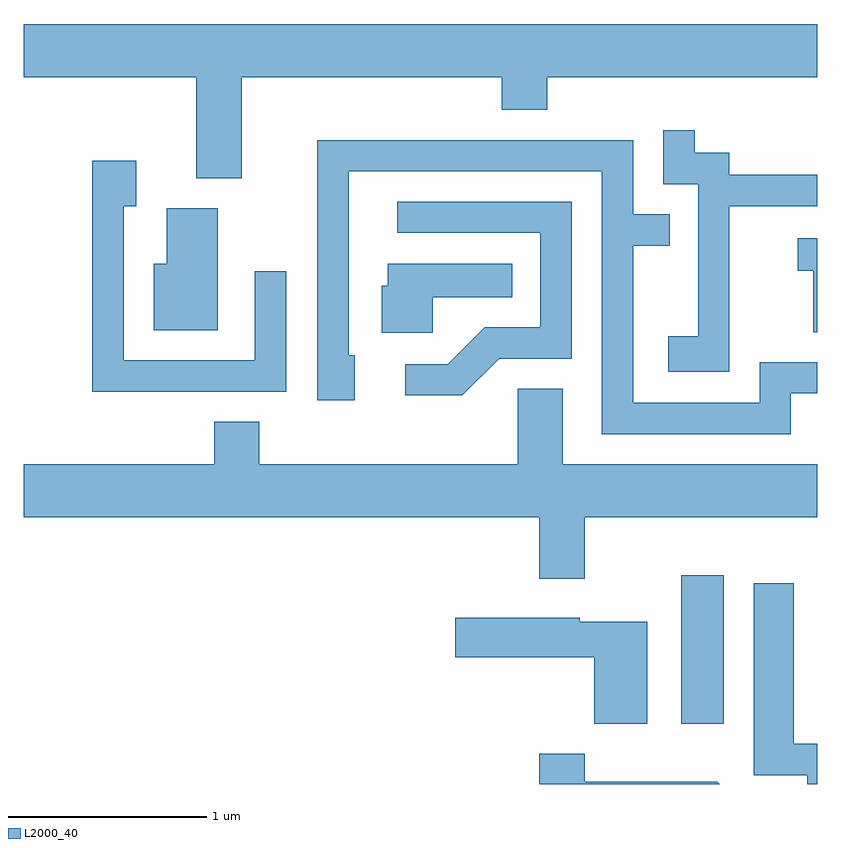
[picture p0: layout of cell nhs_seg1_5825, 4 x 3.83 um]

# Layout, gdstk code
import gdstk
lib = gdstk.Library(unit=1e-6, precision=1e-09)
def R(c, l, rs):  # rectangles x0, y0, x1, y1
    for r in rs: c.add(gdstk.rectangle(r[:2], r[2:], *l))
def P(c, l, *ps):  # polygons
    for p in ps: c.add(gdstk.Polygon(p, *l))
L2000_40 = (2000, 40)

nhs_seg1_5825 = lib.new_cell('nhs_seg1_5825')
R(nhs_seg1_5825, L2000_40, [(362.926,974.016,363.139,974.764)])
P(nhs_seg1_5825, L2000_40, [(360.709,977.276),(362.021,977.276),(362.021,977.111),(362.249,977.111),(362.249,977.276),(363.611,977.276),(363.611,977.544),(359.611,977.544),(359.611,977.276),(360.481,977.276),(360.481,976.766),(360.709,976.766)],
  [(363.169,976.626),(363.611,976.626),(363.611,976.784),(363.169,976.784),(363.169,976.894),(362.994,976.894),(362.994,977.008),(362.836,977.008),(362.836,976.736),(363.011,976.736),(363.011,975.969),(362.861,975.969),(362.861,975.791),(363.169,975.791)],
  [(363.479,975.681),(363.611,975.681),(363.611,975.839),(363.321,975.839),(363.321,975.634),(362.684,975.634),(362.684,976.426),(362.868,976.426),(362.868,976.584),(362.684,976.584),(362.684,976.959),(361.091,976.959),(361.091,975.646),(361.279,975.646),(361.279,975.874),(361.249,975.874),(361.249,976.801),(362.526,976.801),(362.526,975.476),(363.479,975.476)],
  [(360.934,976.298),(360.776,976.298),(360.776,975.849),(360.114,975.849),(360.114,976.626),(360.179,976.626),(360.179,976.854),(359.956,976.854),(359.956,975.691),(360.934,975.691)],
  [(362.007,975.856),(362.374,975.856),(362.374,976.649),(361.493,976.649),(361.493,976.491),(362.216,976.491),(362.216,976.014),(361.934,976.014),(361.749,975.829),(361.533,975.829),(361.533,975.671),(361.822,975.671)],
  [(360.589,976.614),(360.331,976.614),(360.331,976.334),(360.266,976.334),(360.266,976.001),(360.589,976.001)],
  [(363.611,976.464),(363.513,976.464),(363.513,976.301),(363.591,976.301),(363.591,975.991),(363.611,975.991)],
  [(361.674,976.166),(362.073,976.166),(362.073,976.334),(361.446,976.334),(361.446,976.224),(361.416,976.224),(361.416,975.986),(361.674,975.986)],
  [(362.329,975.704),(362.101,975.704),(362.101,975.324),(360.799,975.324),(360.799,975.539),(360.571,975.539),(360.571,975.324),(359.611,975.324),(359.611,975.056),(362.211,975.056),(362.211,974.746),(362.439,974.746),(362.439,975.056),(363.611,975.056),(363.611,975.324),(362.329,975.324)],
  [(363.611,973.914),(363.494,973.914),(363.494,974.724),(363.291,974.724),(363.291,973.756),(363.561,973.756),(363.561,973.712),(363.611,973.712)],
  [(362.754,974.529),(362.414,974.529),(362.414,974.549),(361.786,974.549),(361.786,974.351),(362.486,974.351),(362.486,974.016),(362.754,974.016)],
  [(363.107,973.724),(362.439,973.724),(362.439,973.864),(362.211,973.864),(362.211,973.712),(363.119,973.712)])

lib.write_gds('nhs_seg1_5825.gds')
